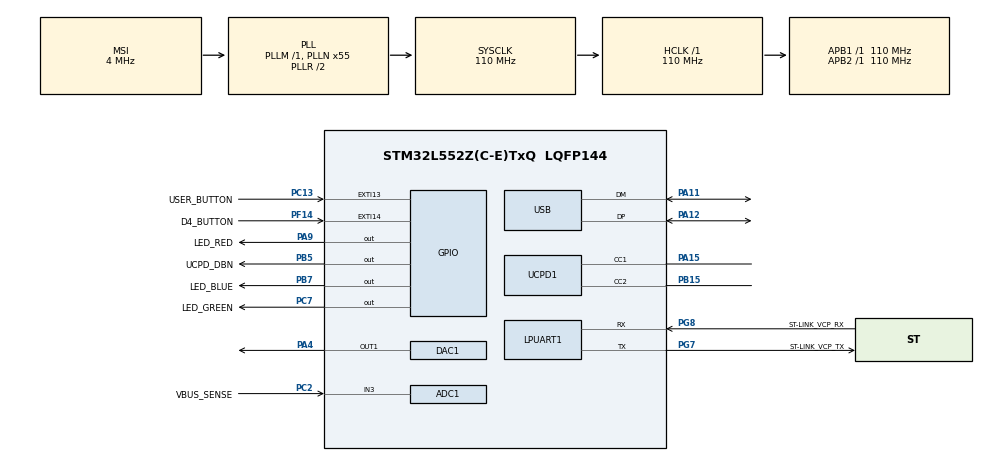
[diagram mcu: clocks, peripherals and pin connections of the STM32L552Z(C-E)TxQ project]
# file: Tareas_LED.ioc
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ADC1.Channel-0\#ChannelRegularConversion=ADC_CHANNEL_3
ADC1.ClockPrescaler=ADC_CLOCK_SYNC_PCLK_DIV4
ADC1.ExternalTrigConv=ADC_EXTERNALTRIG_T2_TRGO
ADC1.NbrOfConversionFlag=1
ADC1.OffsetNumber-0\#ChannelRegularConversion=ADC_OFFSET_NONE
ADC1.Rank-0\#ChannelRegularConversion=1
ADC1.SamplingTime-0\#ChannelRegularConversion=ADC_SAMPLETIME_2CYCLES_5
ADC1.master=1
DAC1.DAC_HighFrequency-DAC_OUT1=DAC_HIGH_FREQUENCY_INTERFACE_MODE_DISABLE
DAC1.DAC_Trigger-DAC_OUT1=DAC_TRIGGER_T4_TRGO
Dma.ADC1.0.Channel_PRIV_NPRIV=DMA_CHANNEL_NPRIV_DISABLE
Dma.ADC1.0.Direction=DMA_PERIPH_TO_MEMORY
Dma.ADC1.0.EventEnable=DISABLE
Dma.ADC1.0.Instance=DMA1_Channel1
Dma.ADC1.0.MemDataAlignment=DMA_MDATAALIGN_HALFWORD
Dma.ADC1.0.MemInc=DMA_MINC_ENABLE
Dma.ADC1.0.Mode=DMA_NORMAL
Dma.ADC1.0.PeriphDataAlignment=DMA_PDATAALIGN_HALFWORD
Dma.ADC1.0.PeriphInc=DMA_PINC_DISABLE
Dma.ADC1.0.Polarity=HAL_DMAMUX_REQ_GEN_RISING
Dma.ADC1.0.Priority=DMA_PRIORITY_LOW
Dma.ADC1.0.RequestNumber=1
Dma.ADC1.0.SignalID=NONE
Dma.ADC1.0.SyncEnable=DISABLE
Dma.ADC1.0.SyncPolarity=HAL_DMAMUX_SYNC_NO_EVENT
Dma.ADC1.0.SyncRequestNumber=1
Dma.ADC1.0.SyncSignalID=NONE
Dma.DAC1_CH1.1.Channel_PRIV_NPRIV=DMA_CHANNEL_NPRIV_DISABLE
Dma.DAC1_CH1.1.Direction=DMA_MEMORY_TO_PERIPH
Dma.DAC1_CH1.1.EventEnable=DISABLE
Dma.DAC1_CH1.1.Instance=DMA1_Channel2
Dma.DAC1_CH1.1.MemDataAlignment=DMA_MDATAALIGN_HALFWORD
Dma.DAC1_CH1.1.MemInc=DMA_MINC_ENABLE
Dma.DAC1_CH1.1.Mode=DMA_NORMAL
Dma.DAC1_CH1.1.PeriphDataAlignment=DMA_PDATAALIGN_HALFWORD
Dma.DAC1_CH1.1.PeriphInc=DMA_PINC_DISABLE
Dma.DAC1_CH1.1.Polarity=HAL_DMAMUX_REQ_GEN_RISING
Dma.DAC1_CH1.1.Priority=DMA_PRIORITY_LOW
Dma.DAC1_CH1.1.RequestNumber=1
Dma.DAC1_CH1.1.SignalID=NONE
Dma.DAC1_CH1.1.SyncEnable=DISABLE
Dma.DAC1_CH1.1.SyncPolarity=HAL_DMAMUX_SYNC_NO_EVENT
Dma.DAC1_CH1.1.SyncRequestNumber=1
Dma.DAC1_CH1.1.SyncSignalID=NONE
Dma.Request0=ADC1
Dma.Request1=DAC1_CH1
Mcu.Family=STM32L5
Mcu.Name=STM32L552Z(C-E)TxQ
Mcu.Package=LQFP144
Mcu.TrustZone=disable
NVIC.DMA1_Channel1_IRQn=true\:0\:0\:false\:false\:true\:false\:true\:true
NVIC.DMA1_Channel2_IRQn=true\:0\:0\:false\:false\:true\:false\:true\:true
NVIC.EXTI13_IRQn=true\:0\:0\:false\:false\:true\:true\:true\:true
NVIC.EXTI14_IRQn=true\:0\:0\:false\:false\:true\:true\:true\:true
NVIC.PriorityGroup=NVIC_PRIORITYGROUP_3
PA11.Mode=Device
PA11.Signal=USB_DM
PA12.Mode=Device
PA12.Signal=USB_DP
PA13\ (JTMS/SWDIO).Mode=Trace_Asynchronous_SW
PA13\ (JTMS/SWDIO).Signal=DEBUG_JTMS-SWDIO
PA14\ (JTCK/SWCLK).Mode=Trace_Asynchronous_SW
PA14\ (JTCK/SWCLK).Signal=DEBUG_JTCK-SWCLK
PA15\ (JTDI).Mode=Source_AllSignals
PA15\ (JTDI).Signal=UCPD1_CC1
PA4.Signal=COMP_DAC11_group
PA9.GPIO_Label=LED_RED
PA9.Signal=GPIO_Output
PB15.Mode=Source_AllSignals
PB15.Signal=UCPD1_CC2
PB3\ (JTDO/TRACESWO).Mode=Trace_Asynchronous_SW
PB3\ (JTDO/TRACESWO).Signal=DEBUG_JTDO-SWO
PB5.GPIO_Label=UCPD_DBN
PB5.Signal=GPIO_Output
PB7.GPIO_Label=LED_BLUE
PB7.Signal=GPIO_Output
PC13.GPIO_Label=USER_BUTTON
PC13.Signal=GPXTI13
PC14-OSC32_IN\ (PC14).Mode=LSE-External-Oscillator
PC14-OSC32_IN\ (PC14).Signal=RCC_OSC32_IN
PC15-OSC32_OUT\ (PC15).Mode=LSE-External-Oscillator
PC15-OSC32_OUT\ (PC15).Signal=RCC_OSC32_OUT
PC2.GPIO_Label=VBUS_SENSE
PC2.Signal=ADCx_IN3
PC7.GPIO_Label=LED_GREEN
PC7.Signal=GPIO_Output
PF14.GPIO_Label=D4_BUTTON
PF14.Signal=GPXTI14
PG7.GPIO_Label=ST-LINK_VCP_TX
PG7.Mode=Asynchronous
PG7.Signal=LPUART1_TX
PG8.GPIO_Label=ST-LINK_VCP_RX
PG8.Mode=Asynchronous
PG8.Signal=LPUART1_RX
ProjectManager.HeapSize=0x200
ProjectManager.StackSize=0x400
ProjectManager.TargetToolchain=STM32CubeIDE
RCC.ADCCLockSelection=RCC_ADCCLKSOURCE_SYSCLK
RCC.ADCFreq_Value=110000000
RCC.AHBFreq_Value=110000000
RCC.APB1Freq_Value=110000000
RCC.APB1TimFreq_Value=110000000
RCC.APB2Freq_Value=110000000
RCC.APB2TimFreq_Value=110000000
RCC.CK48CLockSelection=RCC_USBCLKSOURCE_HSI48
RCC.CortexFreq_Value=110000000
RCC.HCLKFreq_Value=110000000
RCC.HSE_VALUE=8000000
RCC.HSI48_VALUE=48000000
RCC.HSI_VALUE=16000000
RCC.MSI_VALUE=4000000
RCC.PLLN=55
RCC.PLLSAI1N=24
RCC.RTCClockSelection=RCC_RTCCLKSOURCE_LSE
RCC.SYSCLKFreq_VALUE=110000000
RCC.SYSCLKSource=RCC_SYSCLKSOURCE_PLLCLK
RCC.USBFreq_Value=48000000
RCC.VCOOutputFreq_Value=220000000
SH.ADCx_IN3.0=ADC1_IN3,IN3-Single-Ended
SH.COMP_DAC11_group.0=DAC1_OUT1,DAC_OUT1
TIM2.Period=19
TIM2.Prescaler=109
TIM2.TIM_MasterOutputTrigger=TIM_TRGO_UPDATE
TIM4.Period=19
TIM4.Prescaler=109
TIM4.TIM_MasterOutputTrigger=TIM_TRGO_UPDATE
VP_ICACHE_VS_ICACHE.Mode=DirectMappedCache
VP_PWR_VS_DBSignals.Mode=DisableDeadBatterySignals
VP_PWR_VS_SECSignals.Mode=Security/Privilege
VP_RTC_VS_RTC_Activate.Mode=RTC_Enabled
VP_TIM2_VS_ClockSourceINT.Mode=Internal
VP_TIM4_VS_ClockSourceINT.Mode=Internal
board=NUCLEO-L552ZE-Q

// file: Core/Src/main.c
/* USER CODE BEGIN Header */
/**
  ******************************************************************************
  * @file           : main.c
  * @brief          : Main program body
  ******************************************************************************
  * @attention
  *
  * Copyright (c) 2024 STMicroelectronics.
  * All rights reserved.
  *
  * This software is licensed under terms that can be found in the LICENSE file
  * in the root directory of this software component.
  * If no LICENSE file comes with this software, it is provided AS-IS.
  *
  ******************************************************************************
  */
/* USER CODE END Header */
#include "main.h"

/* USER CODE BEGIN Includes */
#include "stdio.h"
/* USER CODE END Includes */

/* USER CODE BEGIN PTD */
typedef enum {
	S0,
	S1,
	S2,
	S3
} State;

typedef State (*StateFunc)(void);
/* USER CODE END PTD */

/* USER CODE BEGIN PM */
#define ITM_Port32(n)	(*((volatile unsigned long *)(0xE0000000+4*n)))
#define ADC_CONVERTED_DATA_BUFFER_SIZE 64
#define DIGITAL_SCALE_12BITS ((uint32_t) 0xFFF)
#define DAC_CONVERTED_DATA_BUFFER_SIZE 128
#define PI 3.14159265358979323846 //No hay PI en C sin libreria
/* USER CODE END PM */

ADC_HandleTypeDef hadc1;
DMA_HandleTypeDef hdma_adc1;

DAC_HandleTypeDef hdac1;
DMA_HandleTypeDef hdma_dac1_ch1;

UART_HandleTypeDef hlpuart1;

RTC_HandleTypeDef hrtc;

TIM_HandleTypeDef htim2;
TIM_HandleTypeDef htim4;

PCD_HandleTypeDef hpcd_USB_FS;

/* USER CODE BEGIN PV */
State currState = S0;
State lastState = S3;

/* Variables for ADC conversion data */
uint16_t aADCxConvertedData[ADC_CONVERTED_DATA_BUFFER_SIZE]; /* ADC group regular conversion data (array of data) */

uint16_t LUT_Cuadrado[5]; //Declaracion LookupTable de funcion cuadrada
uint16_t LUT1k[50]; //Declaracion LookupTable de funcion senoidal 1khz
uint16_t LUT10k[5]; //Declaracion LookupTable de funcion senoidal 10khz

/* USER CODE END PV */

void SystemClock_Config(void);
static void MX_GPIO_Init(void);
static void MX_DMA_Init(void);
static void MX_ICACHE_Init(void);
static void MX_LPUART1_UART_Init(void);
static void MX_RTC_Init(void);
static void MX_UCPD1_Init(void);
static void MX_USB_PCD_Init(void);
static void MX_TIM2_Init(void);
static void MX_ADC1_Init(void);
static void MX_DAC1_Init(void);
static void MX_TIM4_Init(void);
/* USER CODE BEGIN PFP */
State S0_func(void);
State S1_func(void);
State S2_func(void);
State S3_func(void);

StateFunc stateFunctions[4] = {
		S0_func,
		S1_func,
		S2_func,
		S3_func
};

void DAC_func(void);
void Gen_LUT_Cuadrado(void);
void Gen_LUT_Senoidal(void);
/* USER CODE END PFP */

int main(void)
{

  /* MCU Configuration--------------------------------------------------------*/

  /* Reset of all peripherals, Initializes the Flash interface and the Systick. */
  HAL_Init();

  /* Configure the system clock */
  SystemClock_Config();

  /* USER CODE BEGIN SysInit */
  ITM_Port32(31) = 1;
  /* USER CODE END SysInit */

  /* Initialize all configured peripherals */
  MX_GPIO_Init();
  MX_DMA_Init();
  MX_ICACHE_Init();
  MX_LPUART1_UART_Init();
  MX_RTC_Init();
  MX_UCPD1_Init();
  MX_USB_PCD_Init();
  MX_TIM2_Init();
  MX_ADC1_Init();
  MX_DAC1_Init();
  MX_TIM4_Init();
  /* USER CODE BEGIN 2 */
//  void Gen_LUT_Cuadrado(void); //Para generar la funcion cuadrada
  void Gen_LUT_Senoidal(void); //Para generar la funcion senoidal 1k

//  int j = 0;
//  for(int i = 0; i < 50; i = i + 10) { //Coger 5 muestras de 1k = hacer 10k, comentar para 1k
//	LUT10k[j] = LUT1k[i];
//	j++;
//  }

  /* USER CODE END 2 */

  /* Infinite loop */
  /* USER CODE BEGIN WHILE */
//  /*## Enable Timer ########################################################*/
//  if (HAL_TIM_Base_Start(&htim2) != HAL_OK)
//  {
//    /* Counter enable error */
//    Error_Handler();
//  }
//
//  /*## Start ADC conversions ###############################################*/
//  /* Start ADC group regular conversion with DMA */
//  if (HAL_ADC_Start_DMA(&hadc1,
//                        (uint32_t *)aADCxConvertedData,
//                        ADC_CONVERTED_DATA_BUFFER_SIZE
//                       ) != HAL_OK)
//  {
//    /* ADC conversion start error */
//    Error_Handler();
//  }

  /*## Enable Timer 4 ########################################################*/
    if (HAL_TIM_Base_Start(&htim4) != HAL_OK)
    {
      /* Counter enable error */
      Error_Handler();
    }

  //#########START DAC########## //Cambiar en funcion de la funcion a generar
    //if (HAL_DAC_Start_DMA(&hdac1, DAC_CHANNEL_1, (uint32_t *)LUT_Cuadrado, 5, DAC_ALIGN_12B_R) != HAL_OK)
    //if (HAL_DAC_Start_DMA(&hdac1, DAC_CHANNEL_1, (uint32_t *)LUT1k, 50, DAC_ALIGN_12B_R) != HAL_OK)
    if (HAL_DAC_Start_DMA(&hdac1, DAC_CHANNEL_1, (uint32_t *)LUT10k, 5, DAC_ALIGN_12B_R) != HAL_OK)
       	     {
       	       /* Start Error */
       	       Error_Handler();
       	     }

  while (1)
  {
	  HAL_Delay(1000); //For sync
//	  lastState = stateFunctions[currState](); //calls the current state function
    /* USER CODE END WHILE */

  }
}

void SystemClock_Config(void)
{
  RCC_OscInitTypeDef RCC_OscInitStruct = {0};
  RCC_ClkInitTypeDef RCC_ClkInitStruct = {0};

  /** Configure the main internal regulator output voltage
  */
  if (HAL_PWREx_ControlVoltageScaling(PWR_REGULATOR_VOLTAGE_SCALE0) != HAL_OK)
  {
    Error_Handler();
  }

  /** Configure LSE Drive Capability
  */
  HAL_PWR_EnableBkUpAccess();
  __HAL_RCC_LSEDRIVE_CONFIG(RCC_LSEDRIVE_LOW);

  /** Initializes the RCC Oscillators according to the specified parameters
  * in the RCC_OscInitTypeDef structure.
  */
  RCC_OscInitStruct.OscillatorType = RCC_OSCILLATORTYPE_HSI48|RCC_OSCILLATORTYPE_HSI
                              |RCC_OSCILLATORTYPE_LSE|RCC_OSCILLATORTYPE_MSI;
  RCC_OscInitStruct.LSEState = RCC_LSE_ON;
  RCC_OscInitStruct.HSIState = RCC_HSI_ON;
  RCC_OscInitStruct.HSI48State = RCC_HSI48_ON;
  RCC_OscInitStruct.HSICalibrationValue = RCC_HSICALIBRATION_DEFAULT;
  RCC_OscInitStruct.MSIState = RCC_MSI_ON;
  RCC_OscInitStruct.MSICalibrationValue = RCC_MSICALIBRATION_DEFAULT;
  RCC_OscInitStruct.MSIClockRange = RCC_MSIRANGE_6;
  RCC_OscInitStruct.PLL.PLLState = RCC_PLL_ON;
  RCC_OscInitStruct.PLL.PLLSource = RCC_PLLSOURCE_MSI;
  RCC_OscInitStruct.PLL.PLLM = 1;
  RCC_OscInitStruct.PLL.PLLN = 55;
  RCC_OscInitStruct.PLL.PLLP = RCC_PLLP_DIV7;
  RCC_OscInitStruct.PLL.PLLQ = RCC_PLLQ_DIV2;
  RCC_OscInitStruct.PLL.PLLR = RCC_PLLR_DIV2;
  if (HAL_RCC_OscConfig(&RCC_OscInitStruct) != HAL_OK)
  {
    Error_Handler();
  }

  /** Initializes the CPU, AHB and APB buses clocks
  */
  RCC_ClkInitStruct.ClockType = RCC_CLOCKTYPE_HCLK|RCC_CLOCKTYPE_SYSCLK
                              |RCC_CLOCKTYPE_PCLK1|RCC_CLOCKTYPE_PCLK2;
  RCC_ClkInitStruct.SYSCLKSource = RCC_SYSCLKSOURCE_PLLCLK;
  RCC_ClkInitStruct.AHBCLKDivider = RCC_SYSCLK_DIV1;
  RCC_ClkInitStruct.APB1CLKDivider = RCC_HCLK_DIV1;
  RCC_ClkInitStruct.APB2CLKDivider = RCC_HCLK_DIV1;

  if (HAL_RCC_ClockConfig(&RCC_ClkInitStruct, FLASH_LATENCY_5) != HAL_OK)
  {
    Error_Handler();
  }
}

static void MX_ADC1_Init(void)
{

  ADC_MultiModeTypeDef multimode = {0};
  ADC_ChannelConfTypeDef sConfig = {0};

  /** Common config
  */
  hadc1.Instance = ADC1;
  hadc1.Init.ClockPrescaler = ADC_CLOCK_SYNC_PCLK_DIV4;
  hadc1.Init.Resolution = ADC_RESOLUTION_12B;
  hadc1.Init.DataAlign = ADC_DATAALIGN_RIGHT;
  hadc1.Init.ScanConvMode = ADC_SCAN_DISABLE;
  hadc1.Init.EOCSelection = ADC_EOC_SINGLE_CONV;
  hadc1.Init.LowPowerAutoWait = DISABLE;
  hadc1.Init.ContinuousConvMode = DISABLE;
  hadc1.Init.NbrOfConversion = 1;
  hadc1.Init.DiscontinuousConvMode = DISABLE;
  hadc1.Init.ExternalTrigConv = ADC_EXTERNALTRIG_T2_TRGO;
  hadc1.Init.ExternalTrigConvEdge = ADC_EXTERNALTRIGCONVEDGE_RISING;
  hadc1.Init.DMAContinuousRequests = DISABLE;
  hadc1.Init.Overrun = ADC_OVR_DATA_PRESERVED;
  hadc1.Init.OversamplingMode = DISABLE;
  if (HAL_ADC_Init(&hadc1) != HAL_OK)
  {
    Error_Handler();
  }

  /** Configure the ADC multi-mode
  */
  multimode.Mode = ADC_MODE_INDEPENDENT;
  if (HAL_ADCEx_MultiModeConfigChannel(&hadc1, &multimode) != HAL_OK)
  {
    Error_Handler();
  }

  /** Configure Regular Channel
  */
  sConfig.Channel = ADC_CHANNEL_3;
  sConfig.Rank = ADC_REGULAR_RANK_1;
  sConfig.SamplingTime = ADC_SAMPLETIME_2CYCLES_5;
  sConfig.SingleDiff = ADC_SINGLE_ENDED;
  sConfig.OffsetNumber = ADC_OFFSET_NONE;
  sConfig.Offset = 0;
  if (HAL_ADC_ConfigChannel(&hadc1, &sConfig) != HAL_OK)
  {
    Error_Handler();
  }

}

static void MX_DAC1_Init(void)
{

  DAC_ChannelConfTypeDef sConfig = {0};

  /** DAC Initialization
  */
  hdac1.Instance = DAC1;
  if (HAL_DAC_Init(&hdac1) != HAL_OK)
  {
    Error_Handler();
  }

  /** DAC channel OUT1 config
  */
  sConfig.DAC_SampleAndHold = DAC_SAMPLEANDHOLD_DISABLE;
  sConfig.DAC_Trigger = DAC_TRIGGER_T4_TRGO;
  sConfig.DAC_HighFrequency = DAC_HIGH_FREQUENCY_INTERFACE_MODE_DISABLE;
  sConfig.DAC_OutputBuffer = DAC_OUTPUTBUFFER_ENABLE;
  sConfig.DAC_ConnectOnChipPeripheral = DAC_CHIPCONNECT_DISABLE;
  sConfig.DAC_UserTrimming = DAC_TRIMMING_FACTORY;
  if (HAL_DAC_ConfigChannel(&hdac1, &sConfig, DAC_CHANNEL_1) != HAL_OK)
  {
    Error_Handler();
  }

}

static void MX_ICACHE_Init(void)
{

  /** Enable instruction cache in 1-way (direct mapped cache)
  */
  if (HAL_ICACHE_ConfigAssociativityMode(ICACHE_1WAY) != HAL_OK)
  {
    Error_Handler();
  }
  if (HAL_ICACHE_Enable() != HAL_OK)
  {
    Error_Handler();
  }

}

static void MX_LPUART1_UART_Init(void)
{

  hlpuart1.Instance = LPUART1;
  hlpuart1.Init.BaudRate = 209700;
  hlpuart1.Init.WordLength = UART_WORDLENGTH_8B;
  hlpuart1.Init.StopBits = UART_STOPBITS_1;
  hlpuart1.Init.Parity = UART_PARITY_NONE;
  hlpuart1.Init.Mode = UART_MODE_TX_RX;
  hlpuart1.Init.HwFlowCtl = UART_HWCONTROL_NONE;
  hlpuart1.Init.OneBitSampling = UART_ONE_BIT_SAMPLE_DISABLE;
  hlpuart1.Init.ClockPrescaler = UART_PRESCALER_DIV1;
  hlpuart1.AdvancedInit.AdvFeatureInit = UART_ADVFEATURE_NO_INIT;
  hlpuart1.FifoMode = UART_FIFOMODE_DISABLE;
  if (HAL_UART_Init(&hlpuart1) != HAL_OK)
  {
    Error_Handler();
  }
  if (HAL_UARTEx_SetTxFifoThreshold(&hlpuart1, UART_TXFIFO_THRESHOLD_1_8) != HAL_OK)
  {
    Error_Handler();
  }
  if (HAL_UARTEx_SetRxFifoThreshold(&hlpuart1, UART_RXFIFO_THRESHOLD_1_8) != HAL_OK)
  {
    Error_Handler();
  }
  if (HAL_UARTEx_DisableFifoMode(&hlpuart1) != HAL_OK)
  {
    Error_Handler();
  }

}

static void MX_RTC_Init(void)
{

  RTC_PrivilegeStateTypeDef privilegeState = {0};

  /** Initialize RTC Only
  */
  hrtc.Instance = RTC;
  hrtc.Init.HourFormat = RTC_HOURFORMAT_24;
  hrtc.Init.AsynchPrediv = 127;
  hrtc.Init.SynchPrediv = 255;
  hrtc.Init.OutPut = RTC_OUTPUT_DISABLE;
  hrtc.Init.OutPutRemap = RTC_OUTPUT_REMAP_NONE;
  hrtc.Init.OutPutPolarity = RTC_OUTPUT_POLARITY_HIGH;
  hrtc.Init.OutPutType = RTC_OUTPUT_TYPE_OPENDRAIN;
  hrtc.Init.OutPutPullUp = RTC_OUTPUT_PULLUP_NONE;
  if (HAL_RTC_Init(&hrtc) != HAL_OK)
  {
    Error_Handler();
  }
  privilegeState.rtcPrivilegeFull = RTC_PRIVILEGE_FULL_NO;
  privilegeState.backupRegisterPrivZone = RTC_PRIVILEGE_BKUP_ZONE_NONE;
  privilegeState.backupRegisterStartZone2 = RTC_BKP_DR0;
  privilegeState.backupRegisterStartZone3 = RTC_BKP_DR0;
  if (HAL_RTCEx_PrivilegeModeSet(&hrtc, &privilegeState) != HAL_OK)
  {
    Error_Handler();
  }

}

static void MX_TIM2_Init(void)
{

  TIM_ClockConfigTypeDef sClockSourceConfig = {0};
  TIM_MasterConfigTypeDef sMasterConfig = {0};

  htim2.Instance = TIM2;
  htim2.Init.Prescaler = 109;
  htim2.Init.CounterMode = TIM_COUNTERMODE_UP;
  htim2.Init.Period = 19;
  htim2.Init.ClockDivision = TIM_CLOCKDIVISION_DIV1;
  htim2.Init.AutoReloadPreload = TIM_AUTORELOAD_PRELOAD_DISABLE;
  if (HAL_TIM_Base_Init(&htim2) != HAL_OK)
  {
    Error_Handler();
  }
  sClockSourceConfig.ClockSource = TIM_CLOCKSOURCE_INTERNAL;
  if (HAL_TIM_ConfigClockSource(&htim2, &sClockSourceConfig) != HAL_OK)
  {
    Error_Handler();
  }
  sMasterConfig.MasterOutputTrigger = TIM_TRGO_UPDATE;
  sMasterConfig.MasterSlaveMode = TIM_MASTERSLAVEMODE_DISABLE;
  if (HAL_TIMEx_MasterConfigSynchronization(&htim2, &sMasterConfig) != HAL_OK)
  {
    Error_Handler();
  }

}

static void MX_TIM4_Init(void)
{

  TIM_ClockConfigTypeDef sClockSourceConfig = {0};
  TIM_MasterConfigTypeDef sMasterConfig = {0};

  htim4.Instance = TIM4;
  htim4.Init.Prescaler = 109;
  htim4.Init.CounterMode = TIM_COUNTERMODE_UP;
  htim4.Init.Period = 19;
  htim4.Init.ClockDivision = TIM_CLOCKDIVISION_DIV1;
  htim4.Init.AutoReloadPreload = TIM_AUTORELOAD_PRELOAD_DISABLE;
  if (HAL_TIM_Base_Init(&htim4) != HAL_OK)
  {
    Error_Handler();
  }
  sClockSourceConfig.ClockSource = TIM_CLOCKSOURCE_INTERNAL;
  if (HAL_TIM_ConfigClockSource(&htim4, &sClockSourceConfig) != HAL_OK)
  {
    Error_Handler();
  }
  sMasterConfig.MasterOutputTrigger = TIM_TRGO_UPDATE;
  sMasterConfig.MasterSlaveMode = TIM_MASTERSLAVEMODE_DISABLE;
  if (HAL_TIMEx_MasterConfigSynchronization(&htim4, &sMasterConfig) != HAL_OK)
  {
    Error_Handler();
  }

}

static void MX_UCPD1_Init(void)
{

  LL_GPIO_InitTypeDef GPIO_InitStruct = {0};

  /* Peripheral clock enable */
  LL_APB1_GRP2_EnableClock(LL_APB1_GRP2_PERIPH_UCPD1);

  LL_AHB2_GRP1_EnableClock(LL_AHB2_GRP1_PERIPH_GPIOB);
  LL_AHB2_GRP1_EnableClock(LL_AHB2_GRP1_PERIPH_GPIOA);
  /**UCPD1 GPIO Configuration
  PB15   ------> UCPD1_CC2
  PA15 (JTDI)   ------> UCPD1_CC1
  */
  GPIO_InitStruct.Pin = LL_GPIO_PIN_15;
  GPIO_InitStruct.Mode = LL_GPIO_MODE_ANALOG;
  GPIO_InitStruct.Pull = LL_GPIO_PULL_NO;
  LL_GPIO_Init(GPIOB, &GPIO_InitStruct);

  GPIO_InitStruct.Pin = LL_GPIO_PIN_15;
  GPIO_InitStruct.Mode = LL_GPIO_MODE_ANALOG;
  GPIO_InitStruct.Pull = LL_GPIO_PULL_NO;
  LL_GPIO_Init(GPIOA, &GPIO_InitStruct);

}

static void MX_USB_PCD_Init(void)
{

  hpcd_USB_FS.Instance = USB;
  hpcd_USB_FS.Init.dev_endpoints = 8;
  hpcd_USB_FS.Init.speed = PCD_SPEED_FULL;
  hpcd_USB_FS.Init.phy_itface = PCD_PHY_EMBEDDED;
  hpcd_USB_FS.Init.Sof_enable = DISABLE;
  hpcd_USB_FS.Init.low_power_enable = DISABLE;
  hpcd_USB_FS.Init.lpm_enable = DISABLE;
  hpcd_USB_FS.Init.battery_charging_enable = DISABLE;
  if (HAL_PCD_Init(&hpcd_USB_FS) != HAL_OK)
  {
    Error_Handler();
  }

}

static void MX_DMA_Init(void)
{

  /* DMA controller clock enable */
  __HAL_RCC_DMAMUX1_CLK_ENABLE();
  __HAL_RCC_DMA1_CLK_ENABLE();

  /* DMA interrupt init */
  /* DMA1_Channel1_IRQn interrupt configuration */
  HAL_NVIC_SetPriority(DMA1_Channel1_IRQn, 0, 0);
  HAL_NVIC_EnableIRQ(DMA1_Channel1_IRQn);
  /* DMA1_Channel2_IRQn interrupt configuration */
  HAL_NVIC_SetPriority(DMA1_Channel2_IRQn, 0, 0);
  HAL_NVIC_EnableIRQ(DMA1_Channel2_IRQn);

}

static void MX_GPIO_Init(void)
{
  GPIO_InitTypeDef GPIO_InitStruct = {0};

  /* GPIO Ports Clock Enable */
  __HAL_RCC_GPIOC_CLK_ENABLE();
  __HAL_RCC_GPIOA_CLK_ENABLE();
  __HAL_RCC_GPIOF_CLK_ENABLE();
  __HAL_RCC_GPIOB_CLK_ENABLE();
  __HAL_RCC_GPIOG_CLK_ENABLE();
  HAL_PWREx_EnableVddIO2();

  /*Configure GPIO pin Output Level */
  HAL_GPIO_WritePin(LED_GREEN_GPIO_Port, LED_GREEN_Pin, GPIO_PIN_RESET);

  /*Configure GPIO pin Output Level */
  HAL_GPIO_WritePin(LED_RED_GPIO_Port, LED_RED_Pin, GPIO_PIN_RESET);

  /*Configure GPIO pin Output Level */
  HAL_GPIO_WritePin(GPIOB, UCPD_DBN_Pin|LED_BLUE_Pin, GPIO_PIN_RESET);

  /*Configure GPIO pin : USER_BUTTON_Pin */
  GPIO_InitStruct.Pin = USER_BUTTON_Pin;
  GPIO_InitStruct.Mode = GPIO_MODE_IT_RISING;
  GPIO_InitStruct.Pull = GPIO_NOPULL;
  HAL_GPIO_Init(USER_BUTTON_GPIO_Port, &GPIO_InitStruct);

  /*Configure GPIO pin : D4_BUTTON_Pin */
  GPIO_InitStruct.Pin = D4_BUTTON_Pin;
  GPIO_InitStruct.Mode = GPIO_MODE_IT_RISING;
  GPIO_InitStruct.Pull = GPIO_NOPULL;
  HAL_GPIO_Init(D4_BUTTON_GPIO_Port, &GPIO_InitStruct);

  /*Configure GPIO pin : LED_GREEN_Pin */
  GPIO_InitStruct.Pin = LED_GREEN_Pin;
  GPIO_InitStruct.Mode = GPIO_MODE_OUTPUT_PP;
  GPIO_InitStruct.Pull = GPIO_NOPULL;
  GPIO_InitStruct.Speed = GPIO_SPEED_FREQ_LOW;
  HAL_GPIO_Init(LED_GREEN_GPIO_Port, &GPIO_InitStruct);

  /*Configure GPIO pin : LED_RED_Pin */
  GPIO_InitStruct.Pin = LED_RED_Pin;
  GPIO_InitStruct.Mode = GPIO_MODE_OUTPUT_PP;
  GPIO_InitStruct.Pull = GPIO_NOPULL;
  GPIO_InitStruct.Speed = GPIO_SPEED_FREQ_LOW;
  HAL_GPIO_Init(LED_RED_GPIO_Port, &GPIO_InitStruct);

  /*Configure GPIO pins : UCPD_DBN_Pin LED_BLUE_Pin */
  GPIO_InitStruct.Pin = UCPD_DBN_Pin|LED_BLUE_Pin;
  GPIO_InitStruct.Mode = GPIO_MODE_OUTPUT_PP;
  GPIO_InitStruct.Pull = GPIO_NOPULL;
  GPIO_InitStruct.Speed = GPIO_SPEED_FREQ_LOW;
  HAL_GPIO_Init(GPIOB, &GPIO_InitStruct);

  /* EXTI interrupt init*/
  HAL_NVIC_SetPriority(EXTI13_IRQn, 0, 0);
  HAL_NVIC_EnableIRQ(EXTI13_IRQn);

  HAL_NVIC_SetPriority(EXTI14_IRQn, 0, 0);
  HAL_NVIC_EnableIRQ(EXTI14_IRQn);

}

/* USER CODE BEGIN 4 */
//Se podrían usar más comentarios para dejar claro lo que se hace en cada momento y entender el uso de "%4" o "int _write"
void HAL_GPIO_EXTI_Rising_Callback(uint16_t GPIO_Pin)
{
	/* Change currentState used in main loop */
  if (GPIO_Pin == USER_BUTTON_Pin) //B1
  {
	  currState = (currState + 1)%4;
  }

  if (GPIO_Pin == D4_BUTTON_Pin) //B0
  {
	  currState = currState == 0? 3: currState - 1;
  }
}

int _write(int file, char *ptr, int len){
	int DataIdx;

	for(DataIdx=0; DataIdx<len; DataIdx++){
		ITM_SendChar(*ptr++);
	}
	return len;
}

State S0_func(){
	if(currState != lastState){
		printf("Estado actual: S0\n\r");
		HAL_GPIO_WritePin(GPIOA, GPIO_PIN_9, 0);
		HAL_GPIO_WritePin(GPIOC, GPIO_PIN_7, 1);

	}
	return currState;
}

State S1_func(){
	if(currState != lastState){
		printf("Estado actual: S1\n\r");
		HAL_GPIO_WritePin(GPIOA, GPIO_PIN_9, 1);
		HAL_GPIO_WritePin(GPIOC, GPIO_PIN_7, 0);

	}
	return currState;
}

State S2_func(){
	if(currState != lastState){
		printf("Estado actual: S2\n\r");
		HAL_GPIO_WritePin(GPIOA, GPIO_PIN_9, 1);
		HAL_GPIO_WritePin(GPIOC, GPIO_PIN_7, 1);

	}
	return currState;
}

State S3_func(){
	if(currState != lastState){
		printf("Estado actual: S3\n\r");
		HAL_GPIO_WritePin(GPIOA, GPIO_PIN_9, 0);
		HAL_GPIO_WritePin(GPIOC, GPIO_PIN_7, 0);

	}
	return currState;
}

//FUNCIONES DAC

void Gen_LUT_Cuadrado(void) { //Funcion para generar señal cuadrada
	for(int i = 0; i < 5; i++)
	{
		if(i < 2){
			LUT_Cuadrado[i] = 0;
		}
		else {
			LUT_Cuadrado[i] = 1830;
			//Medida aproximada 2V
		}

	}
}

void Gen_LUT_Senoidal(void) { //Funcion para generar señal senoidal 1k
	for(int i = 0; i < 50; i++)
	{
		LUT1k[i] = 950 + (int)(950 * sin(2 * PI * i / 50));
		//Medida aproximada para amplitud 2V, offset 1V
	}
}

/* USER CODE END 4 */

void Error_Handler(void)
{
  __disable_irq();
  while (1)
  {
  }
}
